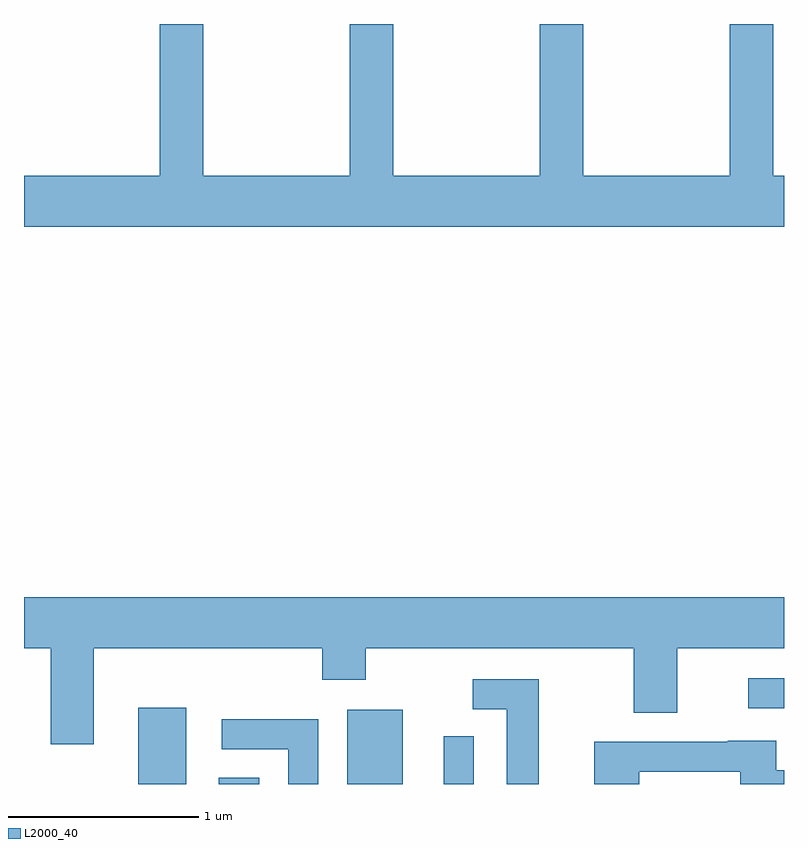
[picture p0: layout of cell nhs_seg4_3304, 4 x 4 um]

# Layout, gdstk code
import gdstk
lib = gdstk.Library(unit=1e-6, precision=1e-09)
def R(c, l, rs):  # rectangles x0, y0, x1, y1
    for r in rs: c.add(gdstk.rectangle(r[:2], r[2:], *l))
def P(c, l, *ps):  # polygons
    for p in ps: c.add(gdstk.Polygon(p, *l))
L2000_40 = (2000, 40)

nhs_seg4_3304 = lib.new_cell('nhs_seg4_3304')
R(nhs_seg4_3304, L2000_40, [(282.211,1333.982,282.464,1334.384), (282.636,1333.982,282.849,1334.014), (283.311,1333.982,283.604,1334.374), (283.821,1333.982,283.979,1334.233), (285.423,1334.381,285.611,1334.539)])
P(nhs_seg4_3304, L2000_40, [(284.326,1337.982),(284.326,1337.184),(283.554,1337.184),(283.554,1337.982),(283.326,1337.982),(283.326,1337.184),(282.554,1337.184),(282.554,1337.982),(282.326,1337.982),(282.326,1337.184),(281.611,1337.184),(281.611,1336.916),(285.611,1336.916),(285.611,1337.184),(285.554,1337.184),(285.554,1337.982),(285.326,1337.982),(285.326,1337.184),(284.554,1337.184),(284.554,1337.982)],
  [(281.979,1334.696),(283.181,1334.696),(283.181,1334.531),(283.409,1334.531),(283.409,1334.696),(284.821,1334.696),(284.821,1334.356),(285.049,1334.356),(285.049,1334.696),(285.611,1334.696),(285.611,1334.964),(281.611,1334.964),(281.611,1334.696),(281.751,1334.696),(281.751,1334.191),(281.979,1334.191)],
  [(284.319,1334.534),(283.973,1334.534),(283.973,1334.376),(284.151,1334.376),(284.151,1333.982),(284.319,1333.982)],
  [(283.159,1334.324),(282.653,1334.324),(282.653,1334.166),(283.001,1334.166),(283.001,1333.982),(283.159,1333.982)],
  [(284.849,1334.046),(285.381,1334.046),(285.381,1333.982),(285.611,1333.982),(285.611,1334.054),(285.569,1334.054),(285.569,1334.209),(285.315,1334.209),(285.315,1334.204),(284.611,1334.204),(284.611,1333.982),(284.849,1333.982)])

lib.write_gds('nhs_seg4_3304.gds')
